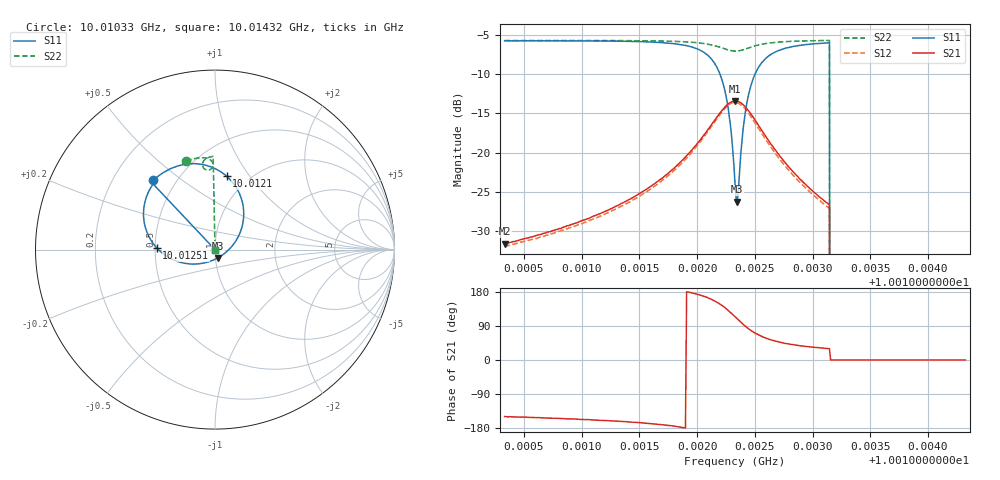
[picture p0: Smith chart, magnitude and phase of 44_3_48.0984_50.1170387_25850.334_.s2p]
#  HZ  S  RI  R  50.00
! Rohde & Schwarz Vector Network Analyzer
! Rohde-Schwarz,ZNB20-2Port,1311601062101988,3.16
! Created: UTC 12/23/2023, 3:39:06 AM
! freq[Hz]  re:S11  im:S11  re:S21  im:S21  re:S12  im:S12  re:S22  im:S22
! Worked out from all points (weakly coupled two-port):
!   401 points, 10.01033 GHz to 10.01432 GHz, reference 50 ohm
!   highest |S21| = -13.40 dB at 10.01233 GHz (marker M1); lowest = -31.6 dB at 10.01033 GHz (marker M2)
!   lowest |S11| = -26.3 dB at 10.01235 GHz (marker M3), VSWR 1.10, Z = 51.4 - j4.73 ohm
!   |S11| at or under -10 dB: 10.0122 GHz to 10.0125 GHz (302.7 kHz wide, 0.00302 % of centre); 10.01315 GHz to end of sweep
!   |S22| runs from - to -5.7 dB; largest |S21 - S12| = 0.01
!   S11 on the Smith chart (normalised r, x): 10.01033 GHz: 0.37, +0.39; 10.0121 GHz: 0.79, +0.79; 10.01251 GHz: 0.51, +0.01; 10.01432 GHz: 1.00, +0.00
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1.0010333e10  -0.3452 0.3855  -0.0225 -0.0134  -0.021 -0.0141  -0.1606 0.4938
1.0011001e10  -0.2886 0.4286  -0.0339 -0.0144  -0.0316 -0.0156  -0.1161 0.5063
1.001138e10  -0.2383 0.4549  -0.0465 -0.0145  -0.0441 -0.0162  -0.0882 0.511
1.001167e10  -0.1746 0.4739  -0.0654 -0.0117  -0.0623 -0.0146  -0.0638 0.512
1.0011949e10  -0.0537 0.4705  -0.1027 0.00447  -0.0995 -0.000845  -0.0348 0.5057
1.0012099e10  0.0646 0.4092  -0.1361 0.0399  -0.1345 0.0317  -0.0171 0.4911
1.0012189e10  0.1421 0.2972  -0.1506 0.0897  -0.152 0.0798  -0.0111 0.4729
1.0012249e10  0.1588 0.1717  -0.1431 0.1368  -0.1455 0.1288  -0.0154 0.457
1.0012289e10  0.131 0.0743  -0.1219 0.17  -0.1259 0.162  -0.0241 0.4479
1.0012328e10  0.0624 -0.0138  -0.087 0.1953  -0.0918 0.188  -0.0366 0.4431
1.0012348e10  0.0159 -0.0459  -0.0668 0.2023  -0.0713 0.1954  -0.0435 0.4431
1.0012358e10  -0.00881 -0.0582  -0.0566 0.2042  -0.0603 0.1977  -0.047 0.4436
1.0012398e10  -0.1156 -0.0807  -0.0153 0.202  -0.0203 0.1956  -0.0585 0.4496
1.0012418e10  -0.1654 -0.0769  0.00318 0.1957  -0.00171 0.1896  -0.0629 0.4541
1.0012458e10  -0.2502 -0.048  0.0322 0.177  0.0264 0.1713  -0.0681 0.4642
1.0012508e10  -0.3243 0.00923  0.0541 0.1494  0.0475 0.1447  -0.0694 0.4766
1.0012668e10  -0.3976 0.1781  0.0673 0.0822  0.061 0.0804  -0.0561 0.5016
1.0012997e10  -0.3649 0.3325  0.0474 0.0319  0.0435 0.0324  -0.023 0.5173
1.0013127e10  -0.3471 0.3615  0.0411 0.024  0.038 0.0246  -0.0118 0.5196
1.0013177e10  0 0  0 0  0 0  0 0
1.0013666e10  0 0  0 0  0 0  0 0
1.0014324e10  0 0  0 0  0 0  0 0
